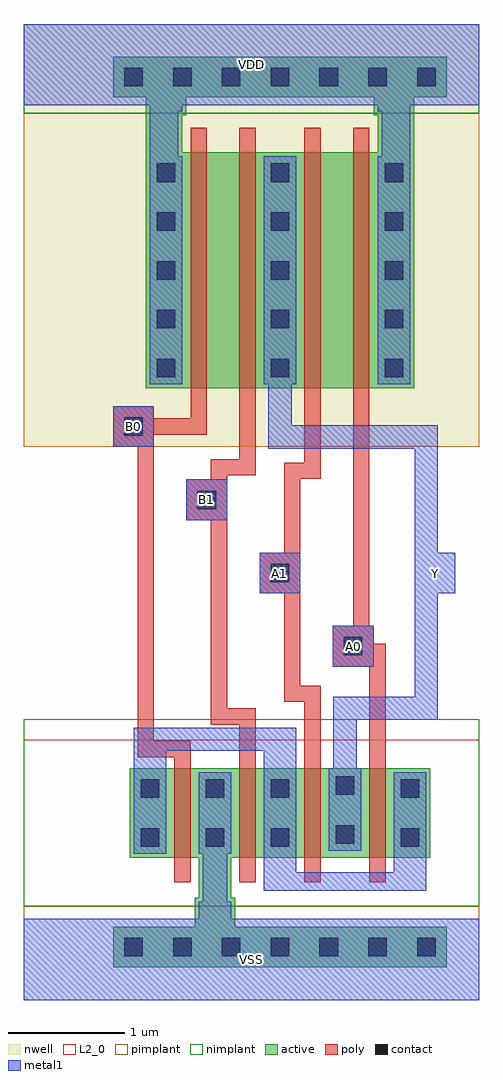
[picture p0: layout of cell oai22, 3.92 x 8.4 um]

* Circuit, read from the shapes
.subckt oai22 A0 A1 B0 B1 VDD VSS Y
M1 VSS B0 n1 VSS nfet w=0.77u l=0.14u
M2 n1 B1 VSS VSS nfet w=0.77u l=0.14u
M3 Y A1 n1 VSS nfet w=0.77u l=0.14u
M4 n1 A0 Y VSS nfet w=0.77u l=0.14u
M5 n2 B0 VDD VDD pfet w=2.03u l=0.14u
M6 Y B1 n2 VDD pfet w=2.03u l=0.14u
M7 n3 A1 Y VDD pfet w=2.03u l=0.14u
M8 VDD A0 n3 VDD pfet w=2.03u l=0.14u
.ends

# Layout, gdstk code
from math import pi, radians
import gdstk
lib = gdstk.Library(unit=1e-6, precision=1e-09)
def R(c, l, rs):  # rectangles x0, y0, x1, y1
    for r in rs: c.add(gdstk.rectangle(r[:2], r[2:], *l))
def A(c, l, x, y, w, h, nx, ny, dx, dy):  # array of equal rectangles
    R(c, l, [(x+i*dx, y+j*dy, x+i*dx+w, y+j*dy+h) for i in range(nx) for j in range(ny)])
def P(c, l, *ps):  # polygons
    for p in ps: c.add(gdstk.Polygon(p, *l))
L2_0 = (2, 0)
nwell = (3, 0)
active = (6, 0)
poly = (17, 0)
pimplant = (25, 0)
nimplant = (26, 0)
contact = (30, 0)
metal1 = (31, 0)

adk_poly_m1 = lib.new_cell('ADK_poly_m1')
R(adk_poly_m1, poly, [(-0.175,-0.175,0.175,0.175)])
R(adk_poly_m1, contact, [(-0.08,-0.08,0.08,0.08)])
R(adk_poly_m1, metal1, [(-0.175,-0.175,0.175,0.175)])

oai22 = lib.new_cell('oai22')
R(oai22, L2_0, [(0,0,3.92,2.24)])
R(oai22, nwell, [(0,4.76,3.92,8.4), (0.63,4.76,3.78,7.63)])
R(oai22, active, [(0.77,0.28,3.64,0.63), (1.47,0.63,1.82,0.88), (1.505,0.88,1.785,1.225), (0.91,1.225,1.295,1.995), (0.91,1.225,3.5,1.995), (3.115,1.225,3.5,1.995), (1.05,5.265,3.36,7.295), (1.05,5.265,1.435,7.295), (2.975,5.265,3.36,7.295), (1.05,7.295,1.365,7.615), (3.045,7.295,3.36,7.615), (1.05,7.615,1.4,7.77), (3.01,7.615,3.36,7.77), (0.77,7.77,3.64,8.12)])
A(oai22, poly, 1.295, 1.015, 0.14, 0.21, 4, 2, 0.56, 0.98)
A(oai22, poly, 1.295, 1.225, 0.14, 0.77, 4, 1, 0.56, 0)
R(oai22, poly, [(1.12,4.865,1.575,5.005), (1.435,4.97,1.575,5.265), (1.855,4.97,1.995,5.265), (2.415,4.97,2.555,5.265), (2.835,4.97,2.975,5.265), (1.435,5.265,1.575,7.295), (1.855,5.265,1.995,7.295), (2.415,5.265,2.555,7.295), (2.835,5.265,2.975,7.295), (1.435,7.295,1.575,7.505), (1.855,7.295,1.995,7.505), (2.415,7.295,2.555,7.505), (2.835,7.295,2.975,7.505)])
P(oai22, poly, [(0.98,2.09),(1.295,2.09),(1.295,2.17),(1.435,2.17),(1.435,2.23),(1.12,2.23),(1.12,4.76),(0.98,4.76)],
  [(1.61,4.48),(1.75,4.48),(1.75,4.515),(1.995,4.515),(1.995,5.005),(1.855,5.005),(1.855,4.655),(1.61,4.655)],
  [(2.835,2.925),(2.975,2.925),(2.975,2.065),(3.115,2.065),(3.115,3.065),(2.975,3.065),(2.975,5.11),(2.835,5.11)],
  [(1.61,2.37),(1.855,2.37),(1.855,2.17),(1.995,2.17),(1.995,2.51),(1.75,2.51),(1.75,4.13),(1.61,4.13)],
  [(2.24,2.565),(2.415,2.565),(2.415,2.065),(2.555,2.065),(2.555,2.705),(2.38,2.705),(2.38,4.485),(2.555,4.485),(2.555,5.11),(2.415,5.11),(2.415,4.625),(2.24,4.625)])
R(oai22, pimplant, [(0,0,3.92,0.805), (0,4.76,3.92,7.63)])
R(oai22, nimplant, [(0,0.805,3.92,2.415), (0,7.63,3.92,8.4)])
A(oai22, contact, 0.865, 0.375, 0.16, 0.16, 7, 2, 0.42, 7.49)
A(oai22, contact, 1.005, 1.32, 0.16, 0.16, 3, 2, 0.56, 0.42)
A(oai22, contact, 1.145, 5.36, 0.16, 0.16, 3, 5, 0.98, 0.42)
R(oai22, contact, [(3.245,1.32,3.405,1.48), (2.685,1.345,2.845,1.505), (3.245,1.74,3.405,1.9), (2.685,1.765,2.845,1.925)])
A(oai22, metal1, 0.945, 1.26, 0.28, 0.7, 3, 1, 0.56, 0)
A(oai22, metal1, 1.085, 5.3, 0.28, 1.96, 3, 1, 0.98, 0)
R(oai22, metal1, [(0,0,3.92,0.7), (1.505,0.7,1.785,0.845), (1.54,0.845,1.75,1.26), (3.185,1.26,3.465,1.96), (2.625,1.285,2.905,1.995), (2.66,2.87,3.01,3.22), (2.03,3.5,2.38,3.85), (3.365,3.5,3.715,3.85), (3.365,3.5,3.715,3.85), (1.4,4.13,1.75,4.48), (0.77,4.76,1.12,5.11), (1.085,7.26,1.33,7.65), (3.08,7.26,3.325,7.65), (1.085,7.65,1.365,7.7), (3.045,7.65,3.325,7.7), (0,7.7,3.92,8.4)])
P(oai22, metal1, [(2.065,0.94),(3.465,0.94),(3.465,1.26),(3.185,1.26),(3.185,1.1),(2.345,1.1),(2.345,1.26),(2.065,1.26)],
  [(0.945,1.96),(1.225,1.96),(1.225,2.145),(2.065,2.145),(2.065,1.96),(2.345,1.96),(2.345,2.345),(0.945,2.345)],
  [(2.105,4.745),(3.365,4.745),(3.365,2.61),(2.665,2.61),(2.665,1.755),(2.865,1.755),(2.865,2.41),(3.565,2.41),(3.565,4.945),(2.305,4.945),(2.305,5.54),(2.105,5.54)])
oai22.add(gdstk.Reference(adk_poly_m1, (1.575,4.305), rotation=pi, x_reflection=True))
oai22.add(gdstk.Reference(adk_poly_m1, (0.945,4.935), rotation=pi, x_reflection=True))
oai22.add(gdstk.Reference(adk_poly_m1, (2.205,3.675), rotation=pi, x_reflection=True))
oai22.add(gdstk.Reference(adk_poly_m1, (2.835,3.045), rotation=pi, x_reflection=True))
oai22.add(gdstk.Label('A1', (2.205,3.675), layer=131, texttype=0))
oai22.add(gdstk.Label('VSS', (1.96,0.35), layer=131, texttype=0))
oai22.add(gdstk.Label('VDD', (1.96,8.05), layer=131, texttype=0))
oai22.add(gdstk.Label('B0', (0.945,4.935), layer=131, texttype=0))
oai22.add(gdstk.Label('B1', (1.575,4.305), layer=131, texttype=0))
oai22.add(gdstk.Label('Y', (3.54,3.675), layer=131, texttype=0))
oai22.add(gdstk.Label('A0', (2.835,3.045), layer=131, texttype=0))

lib.write_gds('oai22.gds')
